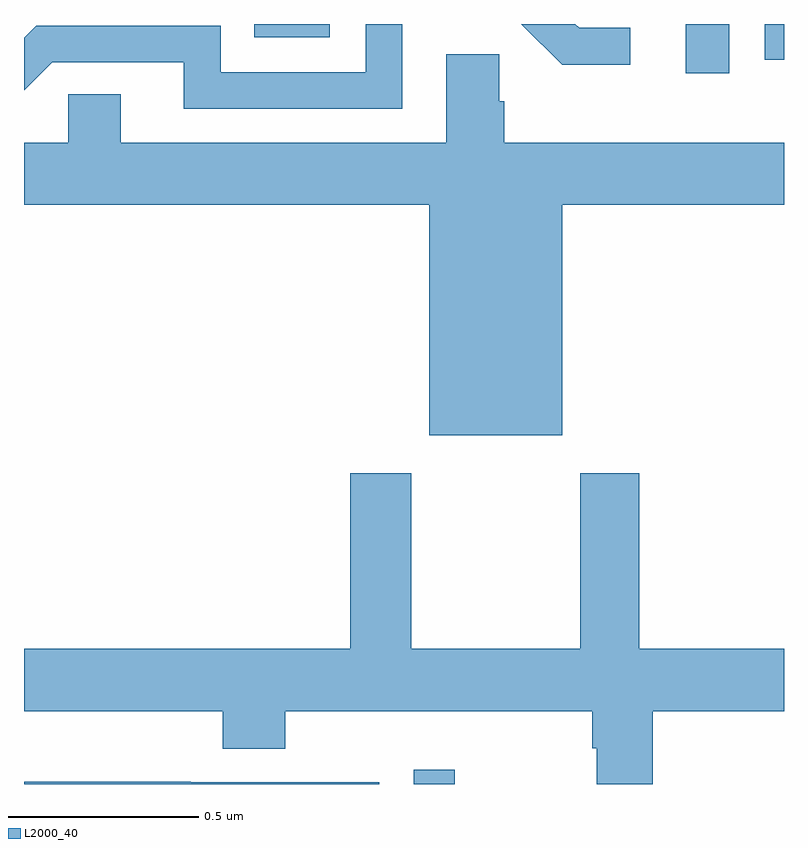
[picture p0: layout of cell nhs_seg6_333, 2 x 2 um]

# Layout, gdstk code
import gdstk
lib = gdstk.Library(unit=1e-6, precision=1e-09)
def R(c, l, rs):  # rectangles x0, y0, x1, y1
    for r in rs: c.add(gdstk.rectangle(r[:2], r[2:], *l))
def P(c, l, *ps):  # polygons
    for p in ps: c.add(gdstk.Polygon(p, *l))
L2000_40 = (2000, 40)

nhs_seg6_333 = lib.new_cell('nhs_seg6_333')
R(nhs_seg6_333, L2000_40, [(116.025,924.5,116.134,924.538), (116.741,926.37,116.856,926.5), (116.949,926.406,117,926.5), (115.606,926.465,115.804,926.5)])
P(nhs_seg6_333, L2000_40, [(116.596,926.49),(116.461,926.49),(116.451,926.5),(116.309,926.5),(116.417,926.393),(116.596,926.393)],
  [(115.995,926.5),(115.899,926.5),(115.899,926.373),(115.518,926.373),(115.518,926.496),(115.032,926.496),(115,926.464),(115,926.326),(115.074,926.4),(115.421,926.4),(115.421,926.277),(115.995,926.277)],
  [(116.416,926.024),(117,926.024),(117,926.188),(116.264,926.188),(116.264,926.297),(116.25,926.297),(116.25,926.42),(116.111,926.42),(116.111,926.188),(115.255,926.188),(115.255,926.315),(115.116,926.315),(115.116,926.188),(115,926.188),(115,926.024),(116.066,926.024),(116.066,925.418),(116.416,925.418)],
  [(116.655,924.692),(117,924.692),(117,924.856),(116.619,924.856),(116.619,925.318),(116.464,925.318),(116.464,924.856),(116.019,924.856),(116.019,925.318),(115.859,925.318),(115.859,924.856),(115,924.856),(115,924.692),(115.523,924.692),(115.523,924.593),(115.688,924.593),(115.688,924.692),(116.495,924.692),(116.495,924.594),(116.507,924.594),(116.507,924.5),(116.655,924.5)],
  [(115.935,924.504),(115.439,924.504),(115.439,924.506),(115,924.506),(115,924.5),(115.935,924.5)])

lib.write_gds('nhs_seg6_333.gds')
